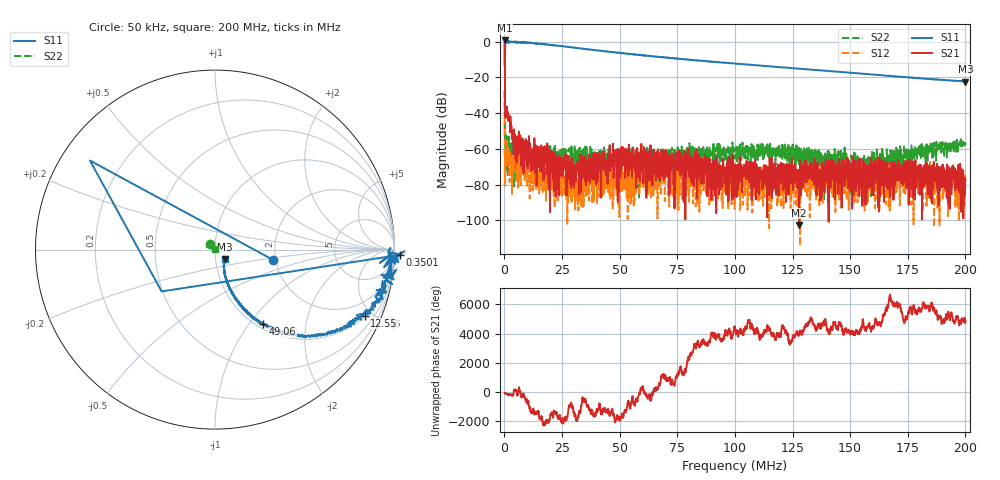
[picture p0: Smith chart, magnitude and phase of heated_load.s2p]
! 23-Mar-26 11:52:02 AM
! E:\UPDATEDVNAMEASUREMENTS\CAL_S11S\HEATED_LOAD.S2P
! CHANNEL.1
! TR.MEASUREMENT
! CORRECTED.DATA
# GHZ S RI R 50.0
! FREQ.GHZ  S11RE  S11IM  S21RE  S21IM  S12RE  S12IM  S22RE  S22IM
!; PortSelection: Port_12
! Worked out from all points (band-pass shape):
!   2000 points, 50 kHz to 200 MHz, reference 50 ohm
!   highest |S21| = 0.71 dB at 150 kHz (marker M1); lowest = -102.7 dB at 127.9 MHz (marker M2)
!   |S21| within 3 dB of the highest: 128 kHz to 157.1 kHz (29.12 kHz wide, 20.4 % of centre)
!   lowest |S11| = -22.3 dB at 200 MHz (marker M3), VSWR 1.17, Z = 55.4 - j6.05 ohm
!   |S11| at or under -10 dB: 79.20326 MHz to 79.3851 MHz (181.8 kHz wide, 0.229 % of centre); 79.48 MHz to 79.9 MHz (419 kHz wide, 0.526 % of centre); 80.01 MHz to end of sweep (the widest 3 of 4)
!   |S22| runs from -88.7 to -27.7 dB; largest |S21 - S12| = 1.1
!   S11 on the Smith chart (normalised r, x): 50 kHz: 1.92, -0.24; 350.1 kHz: -35, -32; 12.55 MHz: 1.04, -4.52; 49.06 MHz: 1.06, -1.17; 200 MHz: 1.11, -0.12
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5e-05  0.3204 -0.0556  0.0841 -0.2105  -0.00731 -0.000335  -0.0288 0.0294
0.000150025  -0.6967 0.4962  0.5366 -0.9427  7.66e-05 5.5e-05  0.0013 -0.00352
0.000350075  1.032 -0.0292  -0.00137 -0.00753  -0.000728 -0.00025  0.00117 -0.000212
0.0016504  0.9916 -0.0145  -0.00566 0.00235  -0.000322 6.81e-05  -7.57e-05 -0.00167
0.004351076  0.9819 -0.1095  0.000579 0.00255  0.000804 0.000423  0.00146 0.000981
0.01255313  0.8344 -0.3675  -0.000412 -0.000174  -0.000216 0.000107  0.000436 0.00028
0.0180545  0.7251 -0.434  -0.000345 -0.000398  2.44e-05 -2.51e-05  0.000742 0.000374
0.0292573  0.5005 -0.4859  -2.47e-05 0.000122  7.71e-05 0.000107  6.48e-05 0.000931
0.03345835  0.4377 -0.4726  -0.000636 -0.000149  3.89e-05 -4.65e-05  0.000479 0.000527
0.04906226  0.2671 -0.4161  0.00093 -0.00036  6.16e-05 0.000316  0.000353 0.000515
0.06676668  0.17 -0.3387  0.000159 -0.000193  -9.31e-05 -4.58e-05  0.000429 -8.17e-05
0.07526881  0.1375 -0.3076  0.000336 0.000235  -9.45e-05 -0.000294  0.000943 0.000244
0.09627406  0.0935 -0.2382  -3.7e-06 5.22e-05  -9.27e-05 -0.00013  0.00042 0.000431
0.09837459  0.0911 -0.2312  -0.000309 0.000189  2.5e-05 -6.01e-05  0.000605 4.56e-05
0.100075  0.0882 -0.2282  9.95e-05 -2.1e-05  1.49e-05 4.77e-05  0.000448 0.000557
0.127882  0.0622 -0.164  -6.1e-06 4.1e-06  -7.39e-05 -8.42e-05  -5.55e-05 0.000583
0.1333833  0.0581 -0.1535  0.000111 -9.17e-05  -0.000193 9.02e-05  -0.000359 0.000776
0.1472868  0.0534 -0.1292  4.63e-05 0.000131  -9.27e-05 7.8e-05  0.000172 0.000538
0.1499875  0.0526 -0.1248  0.000176 -7e-07  0.000201 0.000127  -2.25e-05 0.000411
0.1666917  0.0497 -0.0984  0.000279 -6.48e-05  1.72e-05 -1.69e-05  0.000123 -0.000226
0.1943986  0.0527 -0.062  -2e-06 0.000215  -3.77e-05 6.84e-05  0.00115 -3.53e-05
0.2  0.0542 -0.0543  -0.000121 -2.36e-05  -0.000137 -0.000111  0.00116 0.000628
